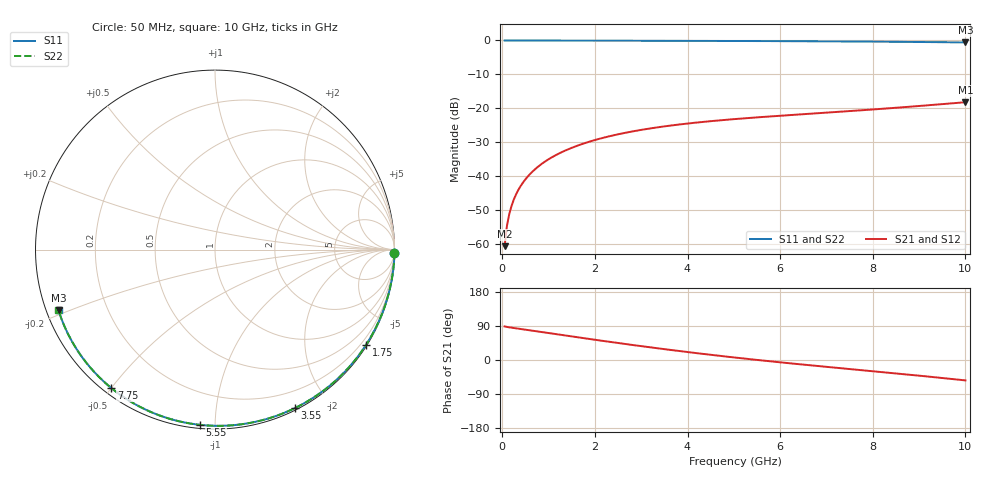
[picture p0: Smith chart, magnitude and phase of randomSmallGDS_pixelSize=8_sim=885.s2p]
! freq	dB(S11)	phase(S11)	dB(S12)	phase(S12)
!  dB(S21)	phase(S21)	dB(S22)	phase(S22)
!S-par simulation data
#  GHz  S  DB  R 50
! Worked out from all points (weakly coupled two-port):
!   200 points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, 50 MHz to 10 GHz, reference 50 ohm
!   highest |S21| = -18.19 dB at 10 GHz (marker M1); lowest = -60.6 dB at 50 MHz (marker M2)
!   lowest |S11| = -0.6 dB at 10 GHz (marker M3), VSWR 29.81, Z = 1.74 - j9.34 ohm
!   |S11| at or under -10 dB: nowhere
!   |S22| runs from -0.6 to 0.0 dB; largest |S21 - S12| = 0
!   S11 on the Smith chart (normalised r, x): 50 MHz: open; 1.75 GHz: 0.03, -3.47; 3.55 GHz: 0.02, -1.62; 5.55 GHz: 0.02, -0.92; 7.75 GHz: 0.02, -0.50; 10 GHz: 0.03, -0.19
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0.05  -0.00 -0.9  -60.60 88.5  -60.60 88.5  -0.00 -0.9
0.1  -0.00 -1.9  -54.64 87.2  -54.64 87.2  -0.00 -1.9
0.15  -0.00 -2.8  -51.18 86.2  -51.18 86.2  -0.00 -2.8
0.2  -0.00 -3.7  -48.73 85.2  -48.73 85.2  -0.00 -3.7
0.25  -0.00 -4.7  -46.82 84.4  -46.82 84.4  -0.00 -4.7
0.35  -0.01 -6.5  -43.95 82.7  -43.95 82.7  -0.01 -6.5
0.5  -0.01 -9.3  -40.90 80.1  -40.90 80.1  -0.01 -9.3
0.7  -0.02 -13.0  -38.02 76.5  -38.02 76.5  -0.02 -13.0
1  -0.02 -18.6  -34.99 71.1  -34.99 71.1  -0.02 -18.6
1.35  -0.03 -24.9  -32.49 64.9  -32.49 64.9  -0.03 -24.9
1.75  -0.04 -32.2  -30.39 57.8  -30.39 57.8  -0.04 -32.1
2.5  -0.07 -45.4  -27.64 44.8  -27.64 44.8  -0.07 -45.4
3.4  -0.09 -60.8  -25.50 30.2  -25.50 30.2  -0.09 -60.8
3.55  -0.10 -63.3  -25.22 27.8  -25.22 27.8  -0.10 -63.3
4.3  -0.12 -75.5  -24.04 16.6  -24.04 16.6  -0.12 -75.5
5.05  -0.15 -87.3  -23.13 6.1  -23.13 6.1  -0.15 -87.3
5.55  -0.18 -94.9  -22.61 -0.5  -22.61 -0.5  -0.18 -94.9
6.7  -0.24 -111.9  -21.55 -14.6  -21.55 -14.6  -0.24 -111.9
7.75  -0.32 -126.9  -20.58 -26.7  -20.58 -26.7  -0.32 -126.9
8.35  -0.38 -135.3  -19.99 -33.6  -19.99 -33.6  -0.38 -135.4
9.2  -0.47 -147.3  -19.09 -43.7  -19.09 -43.7  -0.47 -147.4
10  -0.58 -158.8  -18.19 -53.8  -18.19 -53.8  -0.58 -158.8
